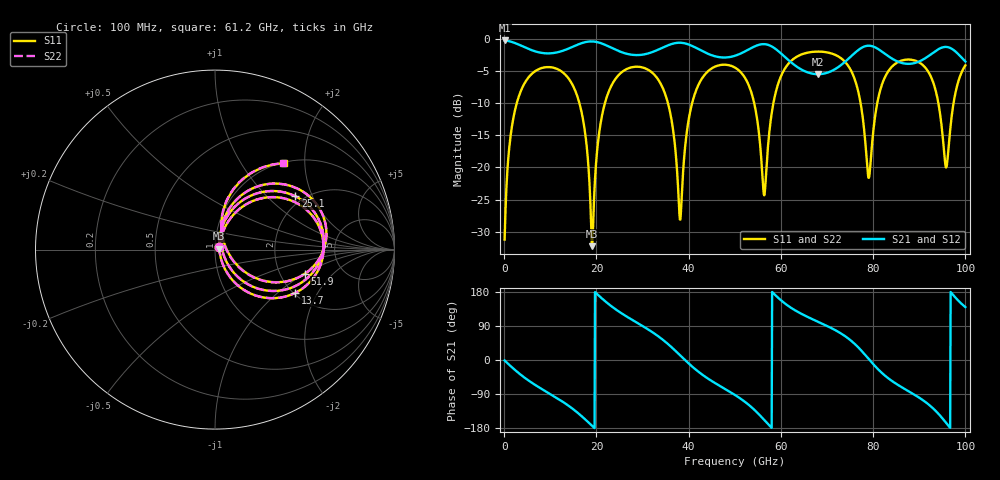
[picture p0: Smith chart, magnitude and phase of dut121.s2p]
! Touchstone file exported from HFSS 2026.1.0
!  File:  C:/ffzhzh/LocalFiles/Ansys_Project_Files/temp_train_TSV_RDL_121_1783637294_26216.aedt
!  Generated:  06:55:49 AM Jul 10, 2026
!  Design:  TSV_RDL
!  Project:  temp_train_TSV_RDL_121_1783637294_26216
! Variables:
!  h_bsmrdl = 2.63um
!  h_ox = 20um
!  h_rdl = 5um
!  h_sub = 71.16um
!  h_tmrdl = 2.15um
!  h_tsv = 71.16um
!  h_via = 3um
!  l_bsmrdl = 291.82um
!  l_sub = 2993.46um
!  l_tmrdl = 404.63um
!  m_sub = 200um
!  pitch = 55.14um
!  r_tsv = 11.15um
!  s_tmrdl = 10um
!  w_bsmrdl = 16.46um
!  w_sub = 500um
!  w_tmrdl = 16.7um
!  x_tsv_center1 = 412.98um
!  x_tsv_center2 = 721.26um
!  x_tsv_center3 = 1142.59um
!  x_tsv_center4 = 1450.87um
!  x_tsv_center5 = 1872.2um
!  x_tsv_center6 = 2180.48um
# GHz S MA R 50.000000
! Terminal data exported
! Port[1] = TM_RDL1_1_T1
! Port[2] = TM_RDL5_1_T1
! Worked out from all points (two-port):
!   1000 points, 100 MHz to 100 GHz, reference 50 ohm
!   highest |S21| = -0.21 dB at 100 MHz (marker M1); lowest = -5.5 dB at 68 GHz (marker M2)
!   |S21| within 3 dB of the highest: start of sweep to 61.55 GHz; 74.42 GHz to 84.51 GHz (10.09 GHz wide, 12.7 % of centre) (the widest 2 of 3)
!   lowest |S11| = -32.3 dB at 19.1 GHz (marker M3), VSWR 1.05, Z = 52.4 + j0.535 ohm
!   |S11| at or under -10 dB: 16.32 GHz to 21.84 GHz (5.519 GHz wide, 28.9 % of centre); 35.52 GHz to 40.75 GHz (5.23 GHz wide, 13.7 % of centre); 54.22 GHz to 58.37 GHz (4.15 GHz wide, 7.37 % of centre) (the widest 3 of 6)
!   |S22| runs from -32.2 to -1.9 dB; largest |S21 - S12| = 1.6e-12
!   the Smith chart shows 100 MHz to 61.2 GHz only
!   S11 on the Smith chart (normalised r, x): 100 MHz: 1.05, +0.03; 13.7 GHz: 2.04, -1.32; 25.1 GHz: 1.80, +1.51; 51.9 GHz: 2.75, -1.00; 61.2 GHz: 1.02, +1.57
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0.1  0.02745 28.3  0.976 -1.2  0.976 -1.2  0.02745 28.3
! Gamma 0 0 0 0
! Port Impedance 50 0 50 0
3.8  0.4083 45.3  0.8855 -40.8  0.8855 -40.8  0.4083 45.4
13.7  0.5075 -28.4  0.8365 -118.4  0.8365 -118.4  0.5075 -28.4
16.8  0.2683 -55.0  0.9297 -148.2  0.9297 -148.2  0.2683 -55.0
19.1  0.02438 12.1  0.9589 -174.1  0.9589 -174.1  0.02455 12.0
21.2  0.252 66.1  0.9233 162.4  0.9233 162.4  0.252 66.0
25.1  0.5369 33.6  0.7998 126.0  0.7998 126.0  0.5369 33.6
33.4  0.4837 -25.5  0.8274 62.7  0.8274 62.7  0.4837 -25.5
38.2  0.03926 19.8  0.9369 11.8  0.9369 11.8  0.03959 19.8
41.8  0.414 57.1  0.8475 -27.9  0.8475 -27.9  0.4141 57.0
50.1  0.5984 -1.7  0.7428 -92.7  0.7428 -92.7  0.5984 -1.8
51.9  0.5192 -14.9  0.7911 -107.6  0.7911 -107.6  0.5192 -15.0
56.4  0.06068 23.4  0.9135 -158.3  0.9135 -158.3  0.05881 23.4
61.2  0.6139 51.4  0.7087 146.2  0.7087 146.2  0.6138 51.6
66.7  0.7941 17.3  0.5391 108.5  0.5391 108.5  0.7941 17.5
68  0.7995 10.7  0.5328 101.2  0.5328 101.2  0.7995 10.8
75.5  0.5406 -35.8  0.7503 48.0  0.7503 48.0  0.5408 -35.5
79  0.08303 -2.2  0.8886 3.3  0.8886 3.3  0.08549 -2.0
83.4  0.5702 35.6  0.7314 -49.3  0.7314 -49.3  0.5704 35.4
91.8  0.5677 -20.2  0.7295 -115.1  0.7295 -115.1  0.5676 -20.3
95.8  0.09994 9.4  0.8693 -165.5  0.8693 -165.5  0.09921 9.4
100  0.6244 42.8  0.6691 139.6  0.6691 139.6  0.6244 42.8
